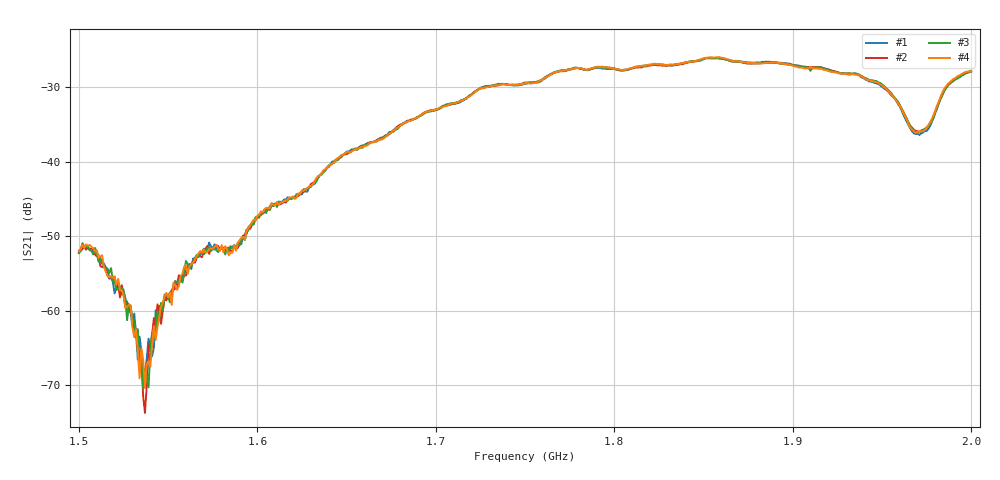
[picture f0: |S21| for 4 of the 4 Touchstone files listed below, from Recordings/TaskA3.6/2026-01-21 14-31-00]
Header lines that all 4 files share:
! NanoVNA-App by SYSJOINT et al v1.1.209 (+OD18)
! Start: 1,5GHz Stop: 2GHz Points: 501
! S-Parameter data: F S11 S21 S12 S22
# Hz S RI R 50
!  Frequency  S11_Real  S11_Imag  S21_Real  S21_Imag  S12_Real  S12_Imag  S22_Real  S22_Imag
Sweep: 1.5 GHz to 2 GHz
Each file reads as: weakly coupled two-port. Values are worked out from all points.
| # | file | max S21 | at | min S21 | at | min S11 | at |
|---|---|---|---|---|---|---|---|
| 1 | 0.s2p | -26.04 dB | 1.852 GHz | -70.1 dB | 1.536 GHz | -30.2 dB | 1.817 GHz |
| 2 | 1.s2p | -25.98 dB | 1.859 GHz | -73.7 dB | 1.537 GHz | -30.0 dB | 1.817 GHz |
| 3 | 2.s2p | -26.08 dB | 1.858 GHz | -70.5 dB | 1.536 GHz | -29.9 dB | 1.817 GHz |
| 4 | 3.s2p | -25.95 dB | 1.858 GHz | -70.4 dB | 1.537 GHz | -30.3 dB | 1.817 GHz |
